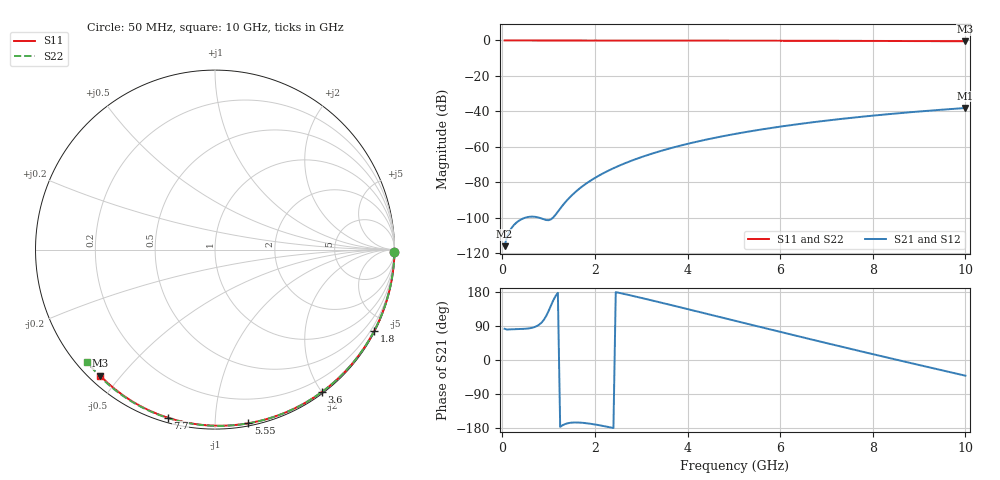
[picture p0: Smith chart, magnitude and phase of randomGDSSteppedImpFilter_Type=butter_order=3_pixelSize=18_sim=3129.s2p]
! freq	dB(S11)	phase(S11)	dB(S12)	phase(S12)
!  dB(S21)	phase(S21)	dB(S22)	phase(S22)
!S-par simulation data
#  GHz  S  DB  R 50
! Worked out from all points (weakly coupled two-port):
!   200 points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, 50 MHz to 10 GHz, reference 50 ohm
!   highest |S21| = -38.08 dB at 10 GHz (marker M1); lowest = -116.0 dB at 50 MHz (marker M2)
!   lowest |S11| = -0.4 dB at 10 GHz (marker M3), VSWR 38.78, Z = 1.54 - j22.1 ohm
!   |S11| at or under -10 dB: nowhere
!   |S22| runs from -0.5 to 0.0 dB; largest |S21 - S12| = 0
!   S11 on the Smith chart (normalised r, x): 50 MHz: open; 1.8 GHz: 0.04, -4.15; 3.6 GHz: 0.02, -2.00; 5.55 GHz: 0.02, -1.21; 7.7 GHz: 0.02, -0.76; 10 GHz: 0.03, -0.44
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0.05  -0.00 -0.8  -116.00 82.4  -116.00 82.4  -0.00 -0.8
0.45  -0.01 -6.9  -100.38 82.1  -100.38 82.1  -0.01 -7.2
0.9  -0.02 -13.7  -100.89 106.5  -100.89 106.5  -0.02 -14.4
1.75  -0.03 -26.4  -81.84 -165.9  -81.84 -165.9  -0.04 -27.7
1.8  -0.03 -27.1  -80.89 -166.6  -80.89 -166.6  -0.04 -28.4
1.85  -0.04 -27.9  -80.00 -167.3  -80.00 -167.3  -0.04 -29.2
2  -0.04 -30.1  -77.52 -170.1  -77.52 -170.1  -0.04 -31.5
2.15  -0.04 -32.3  -75.30 -173.4  -75.30 -173.4  -0.04 -33.8
2.35  -0.05 -35.2  -72.66 -178.2  -72.66 -178.2  -0.05 -36.9
2.55  -0.05 -38.1  -70.31 176.5  -70.31 176.5  -0.05 -39.9
2.95  -0.06 -43.8  -66.27 165.4  -66.27 165.4  -0.06 -46.0
3.4  -0.07 -50.2  -62.48 152.3  -62.48 152.3  -0.07 -52.6
3.6  -0.07 -53.0  -60.99 146.4  -60.99 146.4  -0.07 -55.6
4.3  -0.09 -62.7  -56.50 125.4  -56.50 125.4  -0.09 -65.6
5.05  -0.11 -72.7  -52.59 102.8  -52.59 102.8  -0.12 -76.1
5.55  -0.13 -79.2  -50.38 87.7  -50.38 87.7  -0.14 -82.9
6.1  -0.15 -86.2  -48.22 71.3  -48.22 71.3  -0.16 -90.2
6.7  -0.18 -93.7  -46.14 53.5  -46.14 53.5  -0.19 -98.0
7.7  -0.24 -105.8  -43.18 24.2  -43.18 24.2  -0.25 -110.6
8.35  -0.29 -113.4  -41.53 5.4  -41.53 5.4  -0.30 -118.6
9.2  -0.36 -123.2  -39.64 -18.9  -39.64 -18.9  -0.38 -129.0
10  -0.45 -132.4  -38.08 -41.4  -38.08 -41.4  -0.47 -138.6
